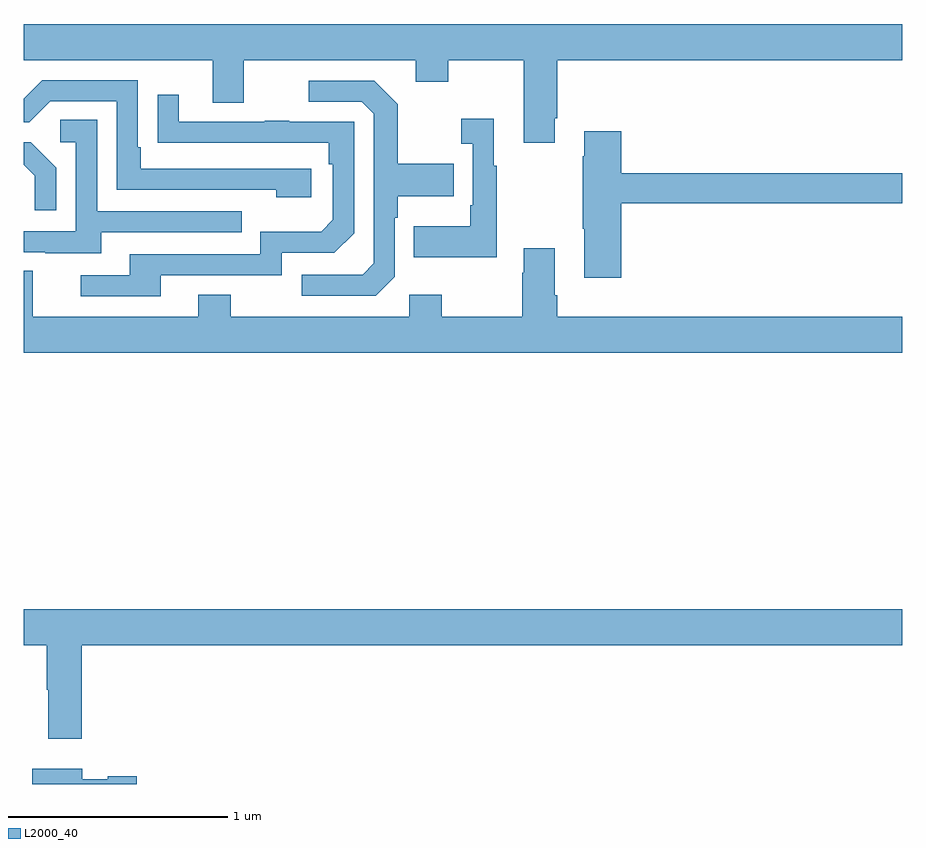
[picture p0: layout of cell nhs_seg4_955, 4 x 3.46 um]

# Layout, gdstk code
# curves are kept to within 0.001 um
import gdstk
lib = gdstk.Library(unit=1e-6, precision=1e-09)
def P(c, l, *ps):  # polygons
    for p in ps: c.add(gdstk.Polygon(p, *l))
L2000_40 = (2000, 40)

nhs_seg4_955 = lib.new_cell('nhs_seg4_955')
P(nhs_seg4_955, L2000_40, [(163.417,753.931),(163.43,753.931),(163.43,754.196),(165,754.196),(165,754.36),(161,754.36),(161,754.196),(161.861,754.196),(161.861,754.002),(162.001,754.002),(162.001,754.196),(162.785,754.196),(162.785,754.097),(162.933,754.097),(162.933,754.196),(163.277,754.196),(163.277,753.819),(163.417,753.819)],
  [(162.31,753.702),(161.533,753.702),(161.533,753.799),(161.52,753.799),(161.52,754.104),(161.085,754.104),(161,754.019),(161,753.912),(161.025,753.912),(161.121,754.008),(161.424,754.008),(161.424,753.606),(162.149,753.606),(162.149,753.572),(162.31,753.572)],
  [(162.69,753.21),(162.69,753.479),(162.703,753.479),(162.703,753.575),(162.959,753.575),(162.959,753.723),(162.703,753.723),(162.703,753.995),(162.597,754.101),(162.297,754.101),(162.297,754.005),(162.54,754.005),(162.594,753.951),(162.594,753.27),(162.543,753.219),(162.267,753.219),(162.267,753.123),(162.603,753.123)],
  [(161.623,753.216),(162.174,753.216),(162.174,753.318),(162.414,753.318),(162.504,753.408),(162.504,753.915),(162.209,753.915),(162.209,753.92),(162.097,753.92),(162.097,753.915),(161.707,753.915),(161.707,754.039),(161.611,754.039),(161.611,753.82),(162.388,753.819),(162.388,753.722),(162.408,753.722),(162.408,753.468),(162.355,753.415),(162.078,753.415),(162.078,753.312),(161.483,753.312),(161.483,753.216),(161.259,753.216),(161.259,753.12),(161.623,753.12)],
  [(163.153,753.715),(163.141,753.715),(163.141,753.928),(162.993,753.928),(162.993,753.815),(163.044,753.815),(163.044,753.535),(163.032,753.535),(163.032,753.439),(162.775,753.439),(162.775,753.299),(163.153,753.299)],
  [(161.353,753.411),(161.993,753.411),(161.993,753.507),(161.334,753.507),(161.334,753.923),(161.166,753.923),(161.166,753.822),(161.238,753.822),(161.238,753.417),(161,753.417),(161,753.321),(161.099,753.321),(161.099,753.317),(161.353,753.317)],
  [(163.721,753.544),(165,753.544),(165,753.68),(163.721,753.68),(163.721,753.871),(163.553,753.871),(163.553,753.758),(163.546,753.758),(163.546,753.427),(163.553,753.427),(163.553,753.204),(163.721,753.204)],
  [(161.148,753.706),(161.032,753.822),(161,753.822),(161,753.72),(161.051,753.669),(161.051,753.513),(161.148,753.513)],
  [(165,753.028),(163.43,753.028),(163.43,753.124),(163.417,753.124),(163.417,753.34),(163.277,753.34),(163.277,753.227),(163.27,753.227),(163.27,753.028),(162.903,753.028),(162.903,753.127),(162.756,753.127),(162.756,753.028),(161.943,753.028),(161.943,753.127),(161.795,753.127),(161.795,753.028),(161.041,753.028),(161.041,753.236),(161,753.236),(161,752.864),(165,752.864)],
  [(161.264,751.532),(165,751.532),(165,751.696),(161,751.696),(161,751.532),(161.104,751.532),(161.104,751.328),(161.111,751.328),(161.111,751.107),(161.264,751.107)],
  [(161.515,750.935),(161.382,750.935),(161.382,750.922),(161.266,750.922),(161.266,750.97),(161.039,750.97),(161.039,750.9),(161.515,750.9)])

lib.write_gds('nhs_seg4_955.gds')
